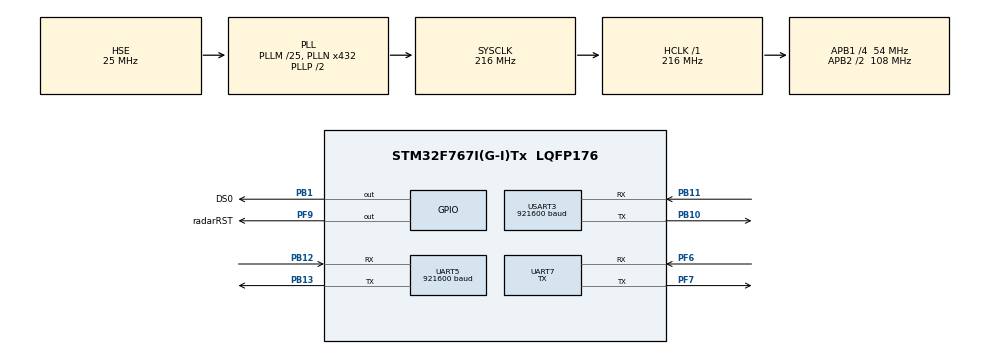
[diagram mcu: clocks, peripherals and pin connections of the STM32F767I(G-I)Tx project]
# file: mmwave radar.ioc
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Mcu.Family=STM32F7
Mcu.Name=STM32F767I(G-I)Tx
Mcu.Package=LQFP176
NVIC.PriorityGroup=NVIC_PRIORITYGROUP_4
NVIC.TIM1_UP_TIM10_IRQn=true\:0\:0\:true\:false\:true\:true\:true\:true
NVIC.UART5_IRQn=true\:0\:0\:true\:false\:true\:true\:true\:true
PB1.GPIO_Label=DS0
PB1.PinState=GPIO_PIN_RESET
PB1.Signal=GPIO_Output
PB10.Mode=Asynchronous
PB10.Signal=USART3_TX
PB11.Mode=Asynchronous
PB11.Signal=USART3_RX
PB12.Mode=Asynchronous
PB12.Signal=UART5_RX
PB13.Mode=Asynchronous
PB13.Signal=UART5_TX
PC14/OSC32_IN.Mode=LSE-External-Oscillator
PC14/OSC32_IN.Signal=RCC_OSC32_IN
PC15/OSC32_OUT.Mode=LSE-External-Oscillator
PC15/OSC32_OUT.Signal=RCC_OSC32_OUT
PF6.Mode=Asynchronous
PF6.Signal=UART7_RX
PF7.Mode=Asynchronous
PF7.Signal=UART7_TX
PF9.GPIO_Label=radarRST
PF9.GPIO_ModeDefaultOutputPP=GPIO_MODE_OUTPUT_OD
PF9.GPIO_PuPd=GPIO_PULLUP
PF9.PinState=GPIO_PIN_SET
PF9.Signal=GPIO_Output
PH0/OSC_IN.Mode=HSE-External-Oscillator
PH0/OSC_IN.Signal=RCC_OSC_IN
PH1/OSC_OUT.Mode=HSE-External-Oscillator
PH1/OSC_OUT.Signal=RCC_OSC_OUT
ProjectManager.HeapSize=0x200
ProjectManager.StackSize=0x400
ProjectManager.TargetToolchain=STM32CubeIDE
RCC.AHBFreq_Value=216000000
RCC.APB1CLKDivider=RCC_HCLK_DIV4
RCC.APB1Freq_Value=54000000
RCC.APB1TimFreq_Value=108000000
RCC.APB2CLKDivider=RCC_HCLK_DIV2
RCC.APB2Freq_Value=108000000
RCC.APB2TimFreq_Value=216000000
RCC.CortexFreq_Value=216000000
RCC.HCLKFreq_Value=216000000
RCC.HSE_VALUE=25000000
RCC.HSI_VALUE=16000000
RCC.PLLM=25
RCC.PLLN=432
RCC.PLLSourceVirtual=RCC_PLLSOURCE_HSE
RCC.SYSCLKFreq_VALUE=216000000
RCC.SYSCLKSource=RCC_SYSCLKSOURCE_PLLCLK
RCC.USBFreq_Value=216000000
RCC.VCOOutputFreq_Value=432000000
TIM1.Period=107
TIM1.Prescaler=9999
UART5.BaudRate=921600
UART5.DMADisableonRxErrorParam=UART_ADVFEATURE_DMA_DISABLEONRXERROR
UART5.Mode=MODE_RX
UART5.OverrunDisableParam=UART_ADVFEATURE_OVERRUN_DISABLE
UART7.Mode=MODE_TX
USART3.BaudRate=921600
USART3.VirtualMode-Asynchronous=VM_ASYNC
VP_TIM1_VS_ClockSourceINT.Mode=Internal
board=custom

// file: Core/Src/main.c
/* USER CODE BEGIN Header */
/**
  ******************************************************************************
  * @file           : main.c
  * @brief          : Main program body
  ******************************************************************************
  * @attention
  *
  * Copyright (c) 2023 STMicroelectronics.
  * All rights reserved.
  *
  * This software is licensed under terms that can be found in the LICENSE file
  * in the root directory of this software component.
  * If no LICENSE file comes with this software, it is provided AS-IS.
  *
  ******************************************************************************
  */
/* USER CODE END Header */
#include "main.h"

/* USER CODE BEGIN Includes */
#include "string.h"
#include "stdio.h"
#ifdef __GNUC__ //printf remap
  #define PUTCHAR_PROTOTYPE int __io_putchar(int ch)
#else
  #define PUTCHAR_PROTOTYPE int fputc(int ch, FILE *f)
#endif
/* USER CODE END Includes */

TIM_HandleTypeDef htim1;

UART_HandleTypeDef huart5;
UART_HandleTypeDef huart7;
UART_HandleTypeDef huart3;

void SystemClock_Config(void);
static void MX_GPIO_Init(void);
static void MX_TIM1_Init(void);
static void MX_UART7_Init(void);
static void MX_USART3_UART_Init(void);
static void MX_UART5_Init(void);

/* USER CODE BEGIN 0 */

/*----------------------------------------------------------------------------*/
/*--printf() remap------------------------------------------------------------*/
/*----------------------------------------------------------------------------*/
PUTCHAR_PROTOTYPE
{
  HAL_UART_Transmit(&huart3,(uint8_t *)&ch,1,0xFFFF);//阻塞方式打印,串口1
  return ch;
}
/*----------------------------------------------------------------------------*/
/*--Some global variables used in function.-----------------------------------*/
/*----------------------------------------------------------------------------*/
char radar_chripCFG[]="sensorStop flushCfg dfeDataOutputMode 1 channelCfg 15 5 0 adcCfg 2 1 adcbufCfg -1 0 1 1 1 profileCfg 0 77 429 7 57.14 0 0 70 1 256 5209 0 0 30 chirpCfg 0 0 0 0 0 0 0 1 chirpCfg 1 1 0 0 0 0 0 4 frameCfg 0 1 16 0 100 1 0 lowPower 0 0 guiMonitor -1 1 1 0 0 0 1 cfarCfg -1 0 2 8 4 3 0 15 1 cfarCfg -1 1 0 4 2 3 1 15 1 multiObjBeamForming -1 1 0.5 clutterRemoval -1 0 calibDcRangeSig -1 0 -5 8 256 extendedMaxVelocity -1 0 lvdsStreamCfg -1 0 0 0 compRangeBiasAndRxChanPhase 0.0 1 0 1 0 1 0 1 0 1 0 1 0 1 0 1 0 1 0 1 0 1 0 1 0 measureRangeBiasAndRxChanPhase 0 1.5 0.2 CQRxSatMonitor 0 3 5 121 0 CQSigImgMonitor 0 127 4 analogMonitor 0 0 aoaFovCfg -1 -90 90 -90 90 cfarFovCfg -1 0 0 8.92 cfarFovCfg -1 1 -1 1.00 calibData 0 0 0 sensorStart";
const uint8_t radar_startComd[]="sensorStart 0\n";
const uint8_t radar_stopComd[]="sensorStop\n";
int radar_rxDataFlag=0;
int radar_rxDataCnt=0;
uint8_t radar_rxDataBuf[2000];	//store the data received every frame
uint8_t radar_rxDataTemp[8];	//data in processing
uint8_t radar_rxDataBufTemp[1];
/*----------------------------------------------------------------------------*/
/*--These global variables are results from every frame precessed.------------*/
/*----------------------------------------------------------------------------*/
int radar_pointDetacted[20][6]; //point detacted of x, y, z, v, snr, noise
int radar_rangeProfile[512];    //range profile in dB
int radar_temperature[10];      //temperature of Rx0, Rx1, Rx2, Rx3, Tx0, Tx1, Tx2, Pm, Dig0, Dig1 in Deg C
int radar_timeInfo[8];          //time information of InterFrameProcessingTime(usec), TransmitOutputTime(usec), InterFrameProcessingMargin(usec),
                                //RunningTime(day), RunningTime(h), RunningTime(min), RunningTime(s), RunningTime(ms)
struct radar_packHeader {
    int firmwareVersion;
    int totalPacketNumBytes;
    int platform;
    int frameNumber;
    int timeCpuCycles;
    int numDetObj;
    int numTlv;
    int subFrameNumber;
} radar_packData;
/*----------------------------------------------------------------------------*/
/*--These functions is used to receive data packets of unknown length---------*/
/*--using the serial port. Two bytes separated by more than 10ms will be------*/
/*--considered as two packets.------------------------------------------------*/
/*----------------------------------------------------------------------------*/
void HAL_TIM_PeriodElapsedCallback(TIM_HandleTypeDef *htim){
    if(htim==(&htim1)){
    	HAL_GPIO_TogglePin(DS0_GPIO_Port,DS0_Pin);//
	    radar_rxDataFlag=1;
	    HAL_TIM_Base_Stop_IT(&htim1);
    }
}
void HAL_UART_RxCpltCallback(UART_HandleTypeDef *huart){
	if(huart->Instance==UART5){
		__HAL_TIM_SET_COUNTER(&htim1,0);
		if(0 == radar_rxDataCnt){
		    __HAL_TIM_CLEAR_FLAG(&htim1,TIM_FLAG_UPDATE);
		    HAL_TIM_Base_Start_IT(&htim1);
		}
		radar_rxDataBuf[radar_rxDataCnt]=radar_rxDataBufTemp[0];
		radar_rxDataCnt++;
		HAL_UART_Receive_IT(&huart5,(uint8_t *)radar_rxDataBufTemp,1);
	}
}
/*----------------------------------------------------------------------------*/
/*--These functions are used to unpack and process datapack-------------------*/
/*----------------------------------------------------------------------------*/
int radar_getUint32(uint8_t data[4]){
	return(data[0]+data[1]*256+data[2]*65536+data[3]*16777216);
}
int radar_getUint16(uint8_t data[2]){
	return(data[0]+data[1]*256);
}
void radar_getTime(uint8_t data[4]){
    int time=radar_getUint32(data);
    radar_timeInfo[3]=time/86400000; time%=86400000; 	//d
    radar_timeInfo[4]=time/3600000; time%=3600000; 		//h
    radar_timeInfo[5]=time/60000; time%=60000; 			//m
    radar_timeInfo[6]=time/1000; time%=1000; 			//s
    radar_timeInfo[7]=time; 							//ms
}
void radar_rxDataBufCut(int x){
    memcpy(radar_rxDataTemp,radar_rxDataBuf,x);
    radar_rxDataCnt-=x;
    for(int i=0;i<radar_rxDataCnt;i++){
        radar_rxDataBuf[i]=radar_rxDataBuf[i+x];
    }
}
int radar_checkMagicPattern(){
	int found=1;
	uint8_t MagicPattern[8]={2,1,4,3,6,5,8,7};
	for(int i=0;i<8;i++){
		if(radar_rxDataBuf[i]!=MagicPattern[i]) found=0;
	}
    radar_rxDataBufCut(8);
	return (found);
}
void radar_dataUnpack(){	//main data unpack function
    int radar_tlvType;
    int radar_tlvLength;
    if(radar_checkMagicPattern()){
        radar_rxDataBufCut(4); //skip firmwareVersion
        radar_rxDataBufCut(4); radar_packData.totalPacketNumBytes   =radar_getUint32(radar_rxDataTemp);
        radar_rxDataBufCut(4); //skip platform
        radar_rxDataBufCut(4); radar_packData.frameNumber           =radar_getUint32(radar_rxDataTemp);
        radar_rxDataBufCut(4); radar_packData.timeCpuCycles         =radar_getUint32(radar_rxDataTemp);
        radar_rxDataBufCut(4); radar_packData.numDetObj             =radar_getUint32(radar_rxDataTemp);
        radar_rxDataBufCut(4); radar_packData.numTlv                =radar_getUint32(radar_rxDataTemp);
        radar_rxDataBufCut(4); //skip subFrameNumber
        for(int i=0;i<radar_packData.numTlv;i++){
            radar_rxDataBufCut(4); radar_tlvType    =radar_getUint32(radar_rxDataTemp);
            radar_rxDataBufCut(4); radar_tlvLength  =radar_getUint32(radar_rxDataTemp);
            if(radar_tlvType == 1){ //point detacted in x,y,z,v
                for(int j=0;j<radar_tlvLength/16;j++){
                    radar_rxDataBufCut(4); radar_pointDetacted[j][0]=radar_getUint32(radar_rxDataTemp); //x
                    radar_rxDataBufCut(4); radar_pointDetacted[j][1]=radar_getUint32(radar_rxDataTemp); //y
                    radar_rxDataBufCut(4); radar_pointDetacted[j][2]=radar_getUint32(radar_rxDataTemp); //z
                    radar_rxDataBufCut(4); radar_pointDetacted[j][3]=radar_getUint32(radar_rxDataTemp); //v
                }
            }
            else if(radar_tlvType == 7){ //point detacted in snr,noise
                for(int j=0;j<radar_tlvLength/4;j++){
                    radar_rxDataBufCut(2); radar_pointDetacted[j][4]=radar_getUint16(radar_rxDataTemp); //snr
                    radar_rxDataBufCut(2); radar_pointDetacted[j][5]=radar_getUint16(radar_rxDataTemp); //noise
                }
            }
            else if(radar_tlvType == 2){ //range profile
                for(int j=0;j<radar_tlvLength/2;j++){
                    radar_rxDataBufCut(2); radar_rangeProfile[j]=radar_getUint16(radar_rxDataTemp); //in dB
                }
            }
            else if(radar_tlvType == 6){ //time information
                for(int j=0;j<3;j++){
                    radar_rxDataBufCut(4); radar_timeInfo[j]=radar_getUint32(radar_rxDataTemp);
                }
                radar_rxDataBufCut(12); //jump 12 useless bytes
            }
            else if(radar_tlvType == 9){ //temperature of Rx0,Rx1,Rx2,Rx3,Tx0,Tx1,Tx2,Pm,Dig0,Dig1 in Deg C
                radar_rxDataBufCut(4);
                radar_rxDataBufCut(4);
                radar_getTime(radar_rxDataTemp);
                for(int j=0;j<10;j++){
                    radar_rxDataBufCut(2); radar_temperature[j]=radar_getUint16(radar_rxDataTemp);
                }
            }
        }
    }
    for(int i=0;i<radar_rxDataCnt;i++) radar_rxDataBuf[i] = 0;
    radar_rxDataCnt=0;
    radar_rxDataFlag=0;
}
/*----------------------------------------------------------------------------*/
/*--This functions is used to send configuration cfg.-------------------------*/
/*----------------------------------------------------------------------------*/
void radar_cfgTransmit(){
	int radar_flagL=0;
	uint8_t radar_commandBuf[80];
	for(int radar_flagH=0;radar_flagH<sizeof(radar_chripCFG);radar_flagH++){
	    if((radar_chripCFG[radar_flagH]==32&&radar_chripCFG[radar_flagH+1]>=65)||radar_flagH==sizeof(radar_chripCFG)-1){
	        for(int i=0;i<radar_flagH-radar_flagL;i++){
	            radar_commandBuf[i]=radar_chripCFG[radar_flagL+i];
	        }
	        radar_commandBuf[radar_flagH-radar_flagL]=10;
	        HAL_UART_Transmit(&huart7,radar_commandBuf,radar_flagH-radar_flagL+1,0xffff);
	        radar_flagL=radar_flagH+1;
	        HAL_Delay(10);
	    }
	}
}
/*----------------------------------------------------------------------------*/
/*--These functions are used to start or stop radar.--------------------------*/
/*----------------------------------------------------------------------------*/
void radarStart(){
	HAL_UART_Transmit(&huart7,radar_startComd,sizeof(radar_startComd)-1,0xffff);
}
void radarStop(){
	HAL_UART_Transmit(&huart7,radar_stopComd,sizeof(radar_stopComd)-1,0xffff);
}
/*----------------------------------------------------------------------------*/
/*--For dubug-----------------------------------------------------------------*/
/*----------------------------------------------------------------------------*/
void radar_debug(){
	printf("totalPacketNumBytes = %d\n", radar_packData.totalPacketNumBytes);
	printf("frameNumber         = %d\n", radar_packData.frameNumber);
	printf("timeCpuCycles       = %d\n", radar_packData.timeCpuCycles);
	printf("numDetObj           = %d\n", radar_packData.numDetObj);
	printf("numTlv              = %d\n", radar_packData.numTlv);
	printf("subFrameNumber      = %d\n", radar_packData.subFrameNumber);
	printf("%d day %d : %d : %d . %d\n",radar_timeInfo[3],radar_timeInfo[4],radar_timeInfo[5],radar_timeInfo[6],radar_timeInfo[7]);
}
/*----------------------------------------------------------------------------*/

/* USER CODE END 0 */

int main(void)
{

  /* MCU Configuration--------------------------------------------------------*/

  /* Reset of all peripherals, Initializes the Flash interface and the Systick. */
  HAL_Init();

  /* Configure the system clock */
  SystemClock_Config();

  /* Initialize all configured peripherals */
  MX_GPIO_Init();
  MX_TIM1_Init();
  MX_UART7_Init();
  MX_USART3_UART_Init();
  MX_UART5_Init();
  /* USER CODE BEGIN 2 */

  HAL_GPIO_WritePin(radarRST_GPIO_Port, radarRST_Pin, GPIO_PIN_RESET);
  HAL_Delay(10);
  HAL_GPIO_WritePin(radarRST_GPIO_Port, radarRST_Pin, GPIO_PIN_SET);
  HAL_Delay(500);														//radar initialization

  radar_cfgTransmit();													//configuration cfg transmission done
  HAL_UART_Receive_IT(&huart5,radar_rxDataBufTemp,2000);				//Begin to receive data

  /* USER CODE END 2 */

  /* Infinite loop */
  /* USER CODE BEGIN WHILE */
  while (1)
  {
	  if(radar_rxDataFlag){
	  	  radar_dataUnpack();
	  	  radar_debug();
	  }

    /* USER CODE END WHILE */

  }
}

void SystemClock_Config(void)
{
  RCC_OscInitTypeDef RCC_OscInitStruct = {0};
  RCC_ClkInitTypeDef RCC_ClkInitStruct = {0};

  /** Configure LSE Drive Capability
  */
  HAL_PWR_EnableBkUpAccess();

  /** Configure the main internal regulator output voltage
  */
  __HAL_RCC_PWR_CLK_ENABLE();
  __HAL_PWR_VOLTAGESCALING_CONFIG(PWR_REGULATOR_VOLTAGE_SCALE1);

  /** Initializes the RCC Oscillators according to the specified parameters
  * in the RCC_OscInitTypeDef structure.
  */
  RCC_OscInitStruct.OscillatorType = RCC_OSCILLATORTYPE_HSE;
  RCC_OscInitStruct.HSEState = RCC_HSE_ON;
  RCC_OscInitStruct.PLL.PLLState = RCC_PLL_ON;
  RCC_OscInitStruct.PLL.PLLSource = RCC_PLLSOURCE_HSE;
  RCC_OscInitStruct.PLL.PLLM = 25;
  RCC_OscInitStruct.PLL.PLLN = 432;
  RCC_OscInitStruct.PLL.PLLP = RCC_PLLP_DIV2;
  RCC_OscInitStruct.PLL.PLLQ = 2;
  RCC_OscInitStruct.PLL.PLLR = 2;
  if (HAL_RCC_OscConfig(&RCC_OscInitStruct) != HAL_OK)
  {
    Error_Handler();
  }

  /** Activate the Over-Drive mode
  */
  if (HAL_PWREx_EnableOverDrive() != HAL_OK)
  {
    Error_Handler();
  }

  /** Initializes the CPU, AHB and APB buses clocks
  */
  RCC_ClkInitStruct.ClockType = RCC_CLOCKTYPE_HCLK|RCC_CLOCKTYPE_SYSCLK
                              |RCC_CLOCKTYPE_PCLK1|RCC_CLOCKTYPE_PCLK2;
  RCC_ClkInitStruct.SYSCLKSource = RCC_SYSCLKSOURCE_PLLCLK;
  RCC_ClkInitStruct.AHBCLKDivider = RCC_SYSCLK_DIV1;
  RCC_ClkInitStruct.APB1CLKDivider = RCC_HCLK_DIV4;
  RCC_ClkInitStruct.APB2CLKDivider = RCC_HCLK_DIV2;

  if (HAL_RCC_ClockConfig(&RCC_ClkInitStruct, FLASH_LATENCY_7) != HAL_OK)
  {
    Error_Handler();
  }
}

static void MX_TIM1_Init(void)
{

  TIM_ClockConfigTypeDef sClockSourceConfig = {0};
  TIM_MasterConfigTypeDef sMasterConfig = {0};

  htim1.Instance = TIM1;
  htim1.Init.Prescaler = 9999;
  htim1.Init.CounterMode = TIM_COUNTERMODE_UP;
  htim1.Init.Period = 107;
  htim1.Init.ClockDivision = TIM_CLOCKDIVISION_DIV1;
  htim1.Init.RepetitionCounter = 0;
  htim1.Init.AutoReloadPreload = TIM_AUTORELOAD_PRELOAD_DISABLE;
  if (HAL_TIM_Base_Init(&htim1) != HAL_OK)
  {
    Error_Handler();
  }
  sClockSourceConfig.ClockSource = TIM_CLOCKSOURCE_INTERNAL;
  if (HAL_TIM_ConfigClockSource(&htim1, &sClockSourceConfig) != HAL_OK)
  {
    Error_Handler();
  }
  sMasterConfig.MasterOutputTrigger = TIM_TRGO_RESET;
  sMasterConfig.MasterOutputTrigger2 = TIM_TRGO2_RESET;
  sMasterConfig.MasterSlaveMode = TIM_MASTERSLAVEMODE_DISABLE;
  if (HAL_TIMEx_MasterConfigSynchronization(&htim1, &sMasterConfig) != HAL_OK)
  {
    Error_Handler();
  }

}

static void MX_UART5_Init(void)
{

  huart5.Instance = UART5;
  huart5.Init.BaudRate = 921600;
  huart5.Init.WordLength = UART_WORDLENGTH_8B;
  huart5.Init.StopBits = UART_STOPBITS_1;
  huart5.Init.Parity = UART_PARITY_NONE;
  huart5.Init.Mode = UART_MODE_RX;
  huart5.Init.HwFlowCtl = UART_HWCONTROL_NONE;
  huart5.Init.OverSampling = UART_OVERSAMPLING_16;
  huart5.Init.OneBitSampling = UART_ONE_BIT_SAMPLE_DISABLE;
  huart5.AdvancedInit.AdvFeatureInit = UART_ADVFEATURE_RXOVERRUNDISABLE_INIT|UART_ADVFEATURE_DMADISABLEONERROR_INIT;
  huart5.AdvancedInit.OverrunDisable = UART_ADVFEATURE_OVERRUN_DISABLE;
  huart5.AdvancedInit.DMADisableonRxError = UART_ADVFEATURE_DMA_DISABLEONRXERROR;
  if (HAL_UART_Init(&huart5) != HAL_OK)
  {
    Error_Handler();
  }

}

static void MX_UART7_Init(void)
{

  huart7.Instance = UART7;
  huart7.Init.BaudRate = 115200;
  huart7.Init.WordLength = UART_WORDLENGTH_8B;
  huart7.Init.StopBits = UART_STOPBITS_1;
  huart7.Init.Parity = UART_PARITY_NONE;
  huart7.Init.Mode = UART_MODE_TX;
  huart7.Init.HwFlowCtl = UART_HWCONTROL_NONE;
  huart7.Init.OverSampling = UART_OVERSAMPLING_16;
  huart7.Init.OneBitSampling = UART_ONE_BIT_SAMPLE_DISABLE;
  huart7.AdvancedInit.AdvFeatureInit = UART_ADVFEATURE_NO_INIT;
  if (HAL_UART_Init(&huart7) != HAL_OK)
  {
    Error_Handler();
  }

}

static void MX_USART3_UART_Init(void)
{

  huart3.Instance = USART3;
  huart3.Init.BaudRate = 921600;
  huart3.Init.WordLength = UART_WORDLENGTH_8B;
  huart3.Init.StopBits = UART_STOPBITS_1;
  huart3.Init.Parity = UART_PARITY_NONE;
  huart3.Init.Mode = UART_MODE_TX_RX;
  huart3.Init.HwFlowCtl = UART_HWCONTROL_NONE;
  huart3.Init.OverSampling = UART_OVERSAMPLING_16;
  huart3.Init.OneBitSampling = UART_ONE_BIT_SAMPLE_DISABLE;
  huart3.AdvancedInit.AdvFeatureInit = UART_ADVFEATURE_NO_INIT;
  if (HAL_UART_Init(&huart3) != HAL_OK)
  {
    Error_Handler();
  }

}

static void MX_GPIO_Init(void)
{
  GPIO_InitTypeDef GPIO_InitStruct = {0};

  /* GPIO Ports Clock Enable */
  __HAL_RCC_GPIOC_CLK_ENABLE();
  __HAL_RCC_GPIOF_CLK_ENABLE();
  __HAL_RCC_GPIOH_CLK_ENABLE();
  __HAL_RCC_GPIOB_CLK_ENABLE();

  /*Configure GPIO pin Output Level */
  HAL_GPIO_WritePin(radarRST_GPIO_Port, radarRST_Pin, GPIO_PIN_SET);

  /*Configure GPIO pin Output Level */
  HAL_GPIO_WritePin(DS0_GPIO_Port, DS0_Pin, GPIO_PIN_RESET);

  /*Configure GPIO pin : radarRST_Pin */
  GPIO_InitStruct.Pin = radarRST_Pin;
  GPIO_InitStruct.Mode = GPIO_MODE_OUTPUT_OD;
  GPIO_InitStruct.Pull = GPIO_PULLUP;
  GPIO_InitStruct.Speed = GPIO_SPEED_FREQ_LOW;
  HAL_GPIO_Init(radarRST_GPIO_Port, &GPIO_InitStruct);

  /*Configure GPIO pin : DS0_Pin */
  GPIO_InitStruct.Pin = DS0_Pin;
  GPIO_InitStruct.Mode = GPIO_MODE_OUTPUT_PP;
  GPIO_InitStruct.Pull = GPIO_NOPULL;
  GPIO_InitStruct.Speed = GPIO_SPEED_FREQ_LOW;
  HAL_GPIO_Init(DS0_GPIO_Port, &GPIO_InitStruct);

}

void Error_Handler(void)
{
  __disable_irq();
  while (1)
  {
  }
}
